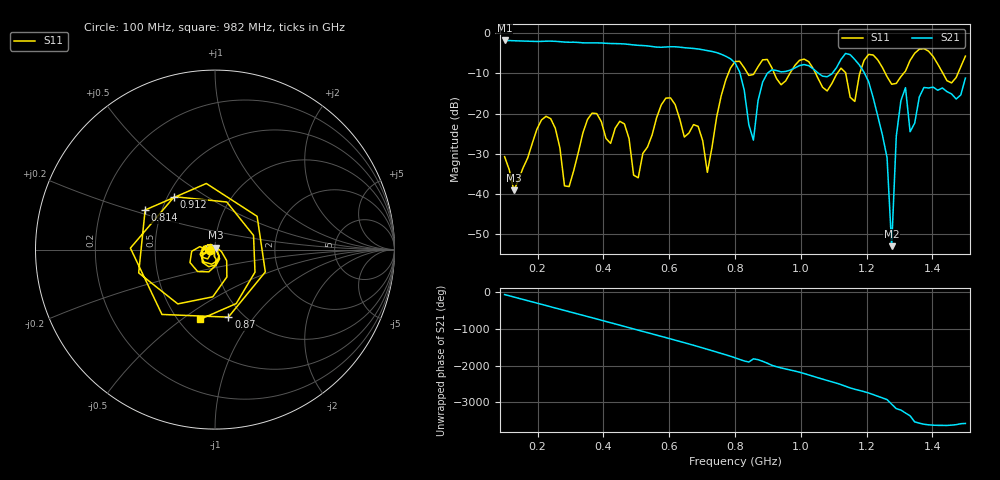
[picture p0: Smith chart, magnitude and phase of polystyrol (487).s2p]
! NanoVNA-App
! Date: 2025-09-25 15:33:41
! Start: 100MHz Stop: 1,5GHz Points: 101
! S-Parameter data: F S11 S21 S12 S22
# Hz S RI R 50
!  Frequency  S11_Real  S11_Imag  S21_Real  S21_Imag  S12_Real  S12_Imag  S22_Real  S22_Imag
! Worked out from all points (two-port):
!   101 points, 100 MHz to 1.5 GHz, reference 50 ohm
!   highest |S21| = -1.80 dB at 100 MHz (marker M1); lowest = -53.0 dB at 1.276 GHz (marker M2)
!   |S21| within 3 dB of the highest: start of sweep to 743.1 MHz
!   lowest |S11| = -39.1 dB at 128 MHz (marker M3), VSWR 1.02, Z = 50.3 + j1.06 ohm
!   |S11| at or under -10 dB: start of sweep to 779.7 MHz; 1.045 GHz to 1.111 GHz (65.63 MHz wide, 6.09 % of centre); 1.257 GHz to 1.312 GHz (55.14 MHz wide, 4.29 % of centre) (the widest 3 of 7)
!   S12 and S22 are empty: the file has one direction only
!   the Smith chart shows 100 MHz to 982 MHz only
!   S11 on the Smith chart (normalised r, x): 100 MHz: 0.94, -0.01; 814 MHz: 0.40, +0.22; 870 MHz: 0.85, -0.75; 912 MHz: 0.54, +0.37; 982 MHz: 0.64, -0.59
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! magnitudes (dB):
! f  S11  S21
! 100 MHz  -30.7  -1.8
! 128 MHz  -39.1  -1.9
! 212 MHz  -21.6  -2.0
! 282 MHz  -38.0  -2.2
! 338 MHz  -24.8  -2.4
! 506 MHz  -36.0  -3.0
! 576 MHz  -17.8  -3.5
! 716 MHz  -34.6  -4.3
! 800 MHz  -7.0  -7.4
! 814 MHz  -7.0  -9.6
! 856 MHz  -10.3  -26.6
! 870 MHz  -8.3  -16.8
! 912 MHz  -8.6  -9.1
! 982 MHz  -8.0  -8.6
! 1.038 GHz  -8.8  -8.9
! 1.206 GHz  -5.3  -12.1
! 1.262 GHz  -10.8  -31.0
! 1.276 GHz  -12.7  -53.0
! 1.29 GHz  -12.5  -25.6
! 1.318 GHz  -9.4  -13.5
! 1.332 GHz  -6.7  -24.5
! 1.5 GHz  -5.7  -11.2
